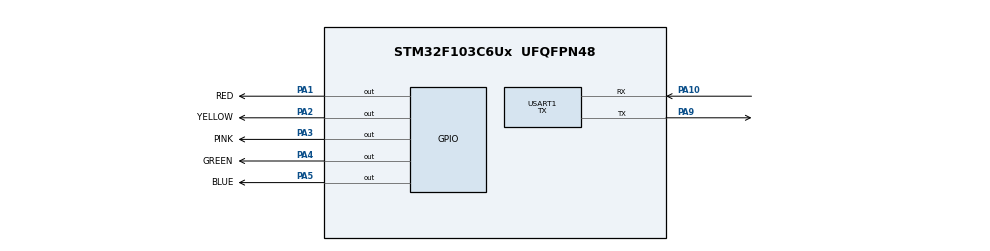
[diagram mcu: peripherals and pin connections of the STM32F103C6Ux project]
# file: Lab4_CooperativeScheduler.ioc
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Mcu.Family=STM32F1
Mcu.Name=STM32F103C6Ux
Mcu.Package=UFQFPN48
NVIC.PriorityGroup=NVIC_PRIORITYGROUP_4
NVIC.TIM2_IRQn=true\:0\:0\:false\:false\:true\:true\:true\:true
PA1.GPIO_Label=RED
PA1.Signal=GPIO_Output
PA10.Mode=Asynchronous
PA10.Signal=USART1_RX
PA13.Mode=Serial_Wire
PA13.Signal=SYS_JTMS-SWDIO
PA14.Mode=Serial_Wire
PA14.Signal=SYS_JTCK-SWCLK
PA2.GPIO_Label=YELLOW
PA2.Signal=GPIO_Output
PA3.GPIO_Label=PINK
PA3.Signal=GPIO_Output
PA4.GPIO_Label=GREEN
PA4.Signal=GPIO_Output
PA5.GPIO_Label=BLUE
PA5.Signal=GPIO_Output
PA9.Mode=Asynchronous
PA9.Signal=USART1_TX
ProjectManager.HeapSize=0x200
ProjectManager.StackSize=0x400
ProjectManager.TargetToolchain=STM32CubeIDE
RCC.APB1Freq_Value=8000000
RCC.APB2Freq_Value=8000000
TIM2.Period=9
TIM2.Prescaler=7999
USART1.Mode=MODE_TX
USART1.VirtualMode=VM_ASYNC
VP_TIM2_VS_ClockSourceINT.Mode=Internal
board=custom

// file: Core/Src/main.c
/* USER CODE BEGIN Header */
/**
  ******************************************************************************
  * @file           : main.c
  * @brief          : Main program body
  ******************************************************************************
  * @attention
  *
  * Copyright (c) 2026 STMicroelectronics.
  * All rights reserved.
  *
  * This software is licensed under terms that can be found in the LICENSE file
  * in the root directory of this software component.
  * If no LICENSE file comes with this software, it is provided AS-IS.
  *
  ******************************************************************************
  */
/* USER CODE END Header */
#include "main.h"
#include "tim.h"
#include "usart.h"
#include "gpio.h"

/* USER CODE BEGIN Includes */
#include "scheduler.h"
#include "tasks.h"
/* USER CODE END Includes */

/* USER CODE BEGIN PD */
#define DEMO_MODE_A 1
#define DEMO_MODE_B 2
#define DEMO_MODE_C 3
#define DEMO_MODE_5_LED 4

#define DEMO_MODE DEMO_MODE_5_LED
/* USER CODE END PD */

void SystemClock_Config(void);

/* USER CODE BEGIN 0 */
#if DEMO_MODE == DEMO_MODE_A

static void DemoA_LogTick(void)
{
    Tasks_LogTimestamp("A");
}

#elif DEMO_MODE == DEMO_MODE_B

static void DemoB_Log300(void)
{
    Tasks_LogTimestamp("B300");
}

static void DemoB_Log500(void)
{
    Tasks_LogTimestamp("B500");
}

#elif DEMO_MODE == DEMO_MODE_C

static void DemoC_Log1000(void)
{
    Tasks_LogTimestamp("C1");
}

static void DemoC_Log2000(void)
{
    Tasks_LogTimestamp("C2");
}

static void DemoC_Log3000(void)
{
    Tasks_LogTimestamp("C3");
}

#elif DEMO_MODE == DEMO_MODE_5_LED

static void Led_Yellow(void)
{
    HAL_GPIO_TogglePin(YELLOW_GPIO_Port, YELLOW_Pin);
    Tasks_LogTimestamp("T2");
}

static void Led_Pink(void)
{
    HAL_GPIO_TogglePin(PINK_GPIO_Port, PINK_Pin);
    Tasks_LogTimestamp("T3");
}

static void Led_Green(void)
{
    HAL_GPIO_TogglePin(GREEN_GPIO_Port, GREEN_Pin);
    Tasks_LogTimestamp("T4");
}

static void Led_Blue(void)
{
    HAL_GPIO_TogglePin(BLUE_GPIO_Port, BLUE_Pin);
    Tasks_LogTimestamp("T5");
}

#else
#error "Unsupported DEMO_MODE"
#endif
/* USER CODE END 0 */

int main(void)
{

  /* MCU Configuration--------------------------------------------------------*/

  /* Reset of all peripherals, Initializes the Flash interface and the Systick. */
  HAL_Init();

  /* Configure the system clock */
  SystemClock_Config();

  /* Initialize all configured peripherals */
  MX_GPIO_Init();
  MX_TIM2_Init();
  MX_USART1_UART_Init();
  /* USER CODE BEGIN 2 */
    SCH_Init();

  #if DEMO_MODE == DEMO_MODE_A

    if (SCH_Add_Task(DemoA_LogTick, 1U, 1U) == NO_TASK_ID)
    {
        Error_Handler();
    }

  #elif DEMO_MODE == DEMO_MODE_B

    if (SCH_Add_Task(DemoB_Log300, MS_TO_TICK(300U),
                     MS_TO_TICK(300U)) == NO_TASK_ID)
    {
        Error_Handler();
    }

    if (SCH_Add_Task(DemoB_Log500, MS_TO_TICK(500U),
                     MS_TO_TICK(500U)) == NO_TASK_ID)
    {
        Error_Handler();
    }

  #elif DEMO_MODE == DEMO_MODE_C

    if (SCH_Add_Task(DemoC_Log1000, 100U, 0U) == NO_TASK_ID)
    {
        Error_Handler();
    }

    if (SCH_Add_Task(DemoC_Log2000, 200U, 0U) == NO_TASK_ID)
    {
        Error_Handler();
    }

    if (SCH_Add_Task(DemoC_Log3000, 300U, 0U) == NO_TASK_ID)
    {
        Error_Handler();
    }

  #elif DEMO_MODE == DEMO_MODE_5_LED

    if (SCH_Add_Task(Tasks_RedLed, MS_TO_TICK(500U),
                     MS_TO_TICK(500U)) == NO_TASK_ID)
    {
        Error_Handler();
    }

    if (SCH_Add_Task(Led_Yellow, MS_TO_TICK(1000U),
                     MS_TO_TICK(1000U)) == NO_TASK_ID)
    {
        Error_Handler();
    }

    if (SCH_Add_Task(Led_Pink, MS_TO_TICK(1500U),
                     MS_TO_TICK(1500U)) == NO_TASK_ID)
    {
        Error_Handler();
    }

    if (SCH_Add_Task(Led_Green, MS_TO_TICK(2000U),
                     MS_TO_TICK(2000U)) == NO_TASK_ID)
    {
        Error_Handler();
    }

    if (SCH_Add_Task(Led_Blue, MS_TO_TICK(2500U),
                     MS_TO_TICK(2500U)) == NO_TASK_ID)
    {
        Error_Handler();
    }

  #endif

    __HAL_TIM_SET_COUNTER(&htim2, 0U);
    __HAL_TIM_CLEAR_FLAG(&htim2, TIM_FLAG_UPDATE);
    HAL_NVIC_ClearPendingIRQ(TIM2_IRQn);

    if (HAL_TIM_Base_Start_IT(&htim2) != HAL_OK)
    {
        Error_Handler();
    }
  /* USER CODE END 2 */

  /* Infinite loop */
  while (1)
  {

    /* USER CODE BEGIN 3 */
      SCH_Dispatch_Tasks();
  }
  /* USER CODE END 3 */
}

void SystemClock_Config(void)
{
  RCC_OscInitTypeDef RCC_OscInitStruct = {0};
  RCC_ClkInitTypeDef RCC_ClkInitStruct = {0};

  /** Initializes the RCC Oscillators according to the specified parameters
  * in the RCC_OscInitTypeDef structure.
  */
  RCC_OscInitStruct.OscillatorType = RCC_OSCILLATORTYPE_HSI;
  RCC_OscInitStruct.HSIState = RCC_HSI_ON;
  RCC_OscInitStruct.HSICalibrationValue = RCC_HSICALIBRATION_DEFAULT;
  RCC_OscInitStruct.PLL.PLLState = RCC_PLL_NONE;
  if (HAL_RCC_OscConfig(&RCC_OscInitStruct) != HAL_OK)
  {
    Error_Handler();
  }

  /** Initializes the CPU, AHB and APB buses clocks
  */
  RCC_ClkInitStruct.ClockType = RCC_CLOCKTYPE_HCLK|RCC_CLOCKTYPE_SYSCLK
                              |RCC_CLOCKTYPE_PCLK1|RCC_CLOCKTYPE_PCLK2;
  RCC_ClkInitStruct.SYSCLKSource = RCC_SYSCLKSOURCE_HSI;
  RCC_ClkInitStruct.AHBCLKDivider = RCC_SYSCLK_DIV1;
  RCC_ClkInitStruct.APB1CLKDivider = RCC_HCLK_DIV1;
  RCC_ClkInitStruct.APB2CLKDivider = RCC_HCLK_DIV1;

  if (HAL_RCC_ClockConfig(&RCC_ClkInitStruct, FLASH_LATENCY_0) != HAL_OK)
  {
    Error_Handler();
  }
}

/* USER CODE BEGIN 4 */
void HAL_TIM_PeriodElapsedCallback(TIM_HandleTypeDef *htim)
{
    if (htim->Instance == TIM2)
    {
        SCH_Update();
    }
}
/* USER CODE END 4 */

void Error_Handler(void)
{
  __disable_irq();
  while (1)
  {
  }
}
